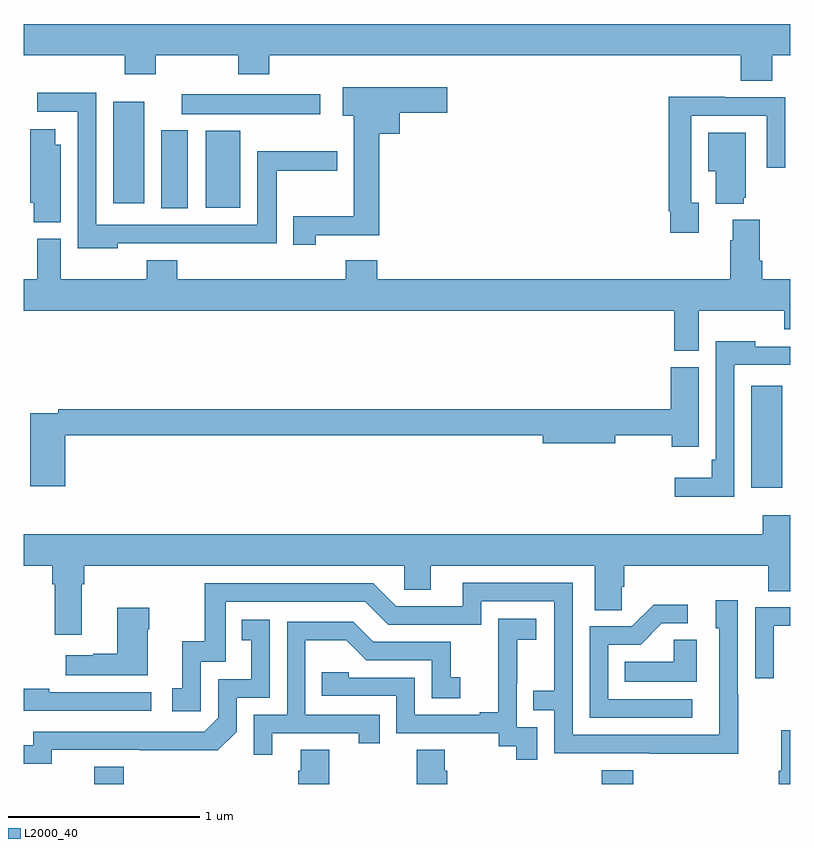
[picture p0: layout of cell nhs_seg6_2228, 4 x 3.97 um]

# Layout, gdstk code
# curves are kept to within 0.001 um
import gdstk
lib = gdstk.Library(unit=1e-6, precision=1e-09)
def R(c, l, rs):  # rectangles x0, y0, x1, y1
    for r in rs: c.add(gdstk.rectangle(r[:2], r[2:], *l))
def P(c, l, *ps):  # polygons
    for p in ps: c.add(gdstk.Polygon(p, *l))
L2000_40 = (2000, 40)

nhs_seg6_2228 = lib.new_cell('nhs_seg6_2228')
R(nhs_seg6_2228, L2000_40, [(243.368,975.5,243.521,975.589), (246.017,975.5,246.182,975.571), (246.797,977.046,246.958,977.578), (243.716,978.505,243.856,978.913), (243.95,978.509,244.129,978.91), (243.467,978.531,243.628,979.063), (243.825,978.998,244.546,979.102)])
P(nhs_seg6_2228, L2000_40, [(246.908,979.304),(247,979.304),(247,979.468),(243,979.468),(243,979.304),(243.527,979.304),(243.527,979.205),(243.687,979.205),(243.687,979.304),(244.12,979.304),(244.12,979.205),(244.28,979.205),(244.28,979.304),(246.743,979.304),(246.743,979.171),(246.908,979.171)],
  [(244.524,978.365),(244.856,978.365),(244.856,978.896),(244.963,978.896),(244.963,979.004),(245.209,979.004),(245.209,979.138),(244.665,979.138),(244.665,978.989),(244.721,978.989),(244.721,978.465),(244.406,978.465),(244.406,978.315),(244.524,978.315)],
  [(243.489,978.324),(243.883,978.324),(243.883,978.323),(244.321,978.323),(244.321,978.703),(244.636,978.703),(244.636,978.803),(244.217,978.803),(244.217,978.42),(243.378,978.42),(243.378,979.109),(243.069,979.109),(243.069,979.01),(243.282,979.01),(243.282,978.296),(243.489,978.296)],
  [(246.523,978.534),(246.483,978.534),(246.483,978.99),(246.879,978.99),(246.879,978.717),(246.975,978.717),(246.975,979.086),(246.659,979.086),(246.659,979.088),(246.367,979.088),(246.367,978.49),(246.375,978.49),(246.375,978.378),(246.523,978.378)],
  [(243.193,978.838),(243.163,978.838),(243.163,978.919),(243.034,978.919),(243.034,978.534),(243.052,978.534),(243.052,978.433),(243.193,978.433)],
  [(246.758,978.561),(246.769,978.561),(246.769,978.901),(246.572,978.901),(246.572,978.698),(246.611,978.698),(246.611,978.53),(246.758,978.53)],
  [(246.523,977.972),(246.97,977.972),(246.97,977.873),(247,977.873),(247,978.136),(246.854,978.136),(246.854,978.232),(246.841,978.232),(246.841,978.445),(246.701,978.445),(246.701,978.338),(246.689,978.338),(246.689,978.136),(244.844,978.136),(244.844,978.235),(244.679,978.235),(244.679,978.136),(243.8,978.136),(243.8,978.235),(243.64,978.235),(243.64,978.136),(243.193,978.136),(243.193,978.348),(243.07,978.348),(243.07,978.136),(243,978.136),(243,977.972),(246.395,977.972),(246.395,977.761),(246.523,977.761)],
  [(246.708,977.688),(247,977.688),(247,977.784),(246.819,977.784),(246.819,977.812),(246.612,977.812),(246.612,977.194),(246.592,977.194),(246.592,977.098),(246.399,977.098),(246.399,977),(246.708,977)],
  [(243.215,977.32),(245.708,977.32),(245.708,977.278),(246.088,977.278),(246.088,977.32),(246.382,977.32),(246.382,977.262),(246.523,977.262),(246.523,977.676),(246.377,977.676),(246.377,977.456),(243.178,977.456),(243.178,977.436),(243.032,977.436),(243.032,977.055),(243.215,977.055)],
  [(243.301,976.544),(243.314,976.544),(243.314,976.64),(244.986,976.64),(244.986,976.513),(245.125,976.513),(245.125,976.64),(245.981,976.64),(245.981,976.408),(246.12,976.408),(246.12,976.531),(246.134,976.531),(246.134,976.64),(246.887,976.64),(246.887,976.507),(247,976.507),(247,976.903),(246.857,976.903),(246.857,976.804),(243,976.804),(243,976.64),(243.149,976.64),(243.149,976.544),(243.161,976.544),(243.161,976.278),(243.301,976.278)],
  [(246.729,975.965),(246.726,975.965),(246.726,976.459),(246.611,976.459),(246.611,976.314),(246.63,976.314),(246.63,975.756),(245.865,975.756),(245.865,976.551),(245.291,976.551),(245.291,976.428),(244.944,976.428),(244.824,976.548),(243.945,976.548),(243.945,976.246),(243.827,976.246),(243.827,975.999),(243.774,975.999),(243.774,975.879),(243.924,975.879),(243.924,976.137),(244.053,976.137),(244.053,976.452),(244.782,976.452),(244.902,976.332),(245.388,976.332),(245.388,976.455),(245.769,976.455),(245.769,975.986),(245.659,975.986),(245.659,975.885),(245.769,975.885),(245.769,975.66),(246.729,975.659)],
  [(246.49,975.942),(246.051,975.942),(246.051,976.227),(246.22,976.227),(246.331,976.338),(246.466,976.338),(246.466,976.436),(246.287,976.436),(246.174,976.323),(245.955,976.323),(245.955,975.846),(246.49,975.846)],
  [(246.915,976.326),(247,976.326),(247,976.422),(246.819,976.422),(246.819,976.053),(246.915,976.053)],
  [(243.646,976.307),(243.654,976.307),(243.654,976.42),(243.488,976.42),(243.488,976.181),(243.362,976.181),(243.362,976.171),(243.219,976.171),(243.219,976.067),(243.646,976.067)],
  [(245.679,975.795),(245.574,975.795),(245.574,976.025),(245.576,976.025),(245.576,976.253),(245.674,976.253),(245.674,976.363),(245.476,976.363),(245.476,976.157),(245.477,976.157),(245.477,975.874),(245.381,975.874),(245.381,975.861),(245.04,975.861),(245.04,976.056),(244.695,976.056),(244.695,976.083),(244.555,976.083),(244.555,975.96),(244.944,975.96),(244.944,975.765),(245.478,975.765),(245.478,975.697),(245.571,975.697),(245.571,975.627),(245.679,975.627)],
  [(243.144,975.678),(244.012,975.677),(244.11,975.774),(244.11,975.951),(244.284,975.951),(244.284,976.357),(244.138,976.357),(244.138,976.251),(244.187,976.251),(244.187,976.047),(244.014,976.047),(244.014,975.846),(243.942,975.774),(243.048,975.774),(243.048,975.702),(243,975.702),(243,975.605),(243.144,975.605)],
  [(244.297,975.765),(244.748,975.765),(244.748,975.714),(244.859,975.714),(244.859,975.861),(244.47,975.861),(244.47,976.25),(244.684,976.25),(244.788,976.146),(245.13,976.146),(245.13,975.948),(245.278,975.948),(245.278,976.057),(245.229,976.057),(245.229,976.242),(244.825,976.242),(244.72,976.347),(244.374,976.347),(244.374,975.861),(244.2,975.861),(244.2,975.654),(244.297,975.654)],
  [(246.514,976.253),(246.393,976.253),(246.393,976.138),(246.136,976.138),(246.136,976.034),(246.514,976.034)],
  [(243.664,975.978),(243.131,975.978),(243.131,975.998),(243,975.998),(243,975.882),(243.664,975.882)],
  [(247,975.781),(246.953,975.781),(246.953,975.568),(246.941,975.568),(246.941,975.5),(247,975.5)],
  [(245.21,975.57),(245.197,975.57),(245.197,975.68),(245.05,975.68),(245.05,975.5),(245.21,975.5)],
  [(244.593,975.68),(244.445,975.68),(244.445,975.57),(244.433,975.57),(244.433,975.5),(244.593,975.5)])

lib.write_gds('nhs_seg6_2228.gds')
